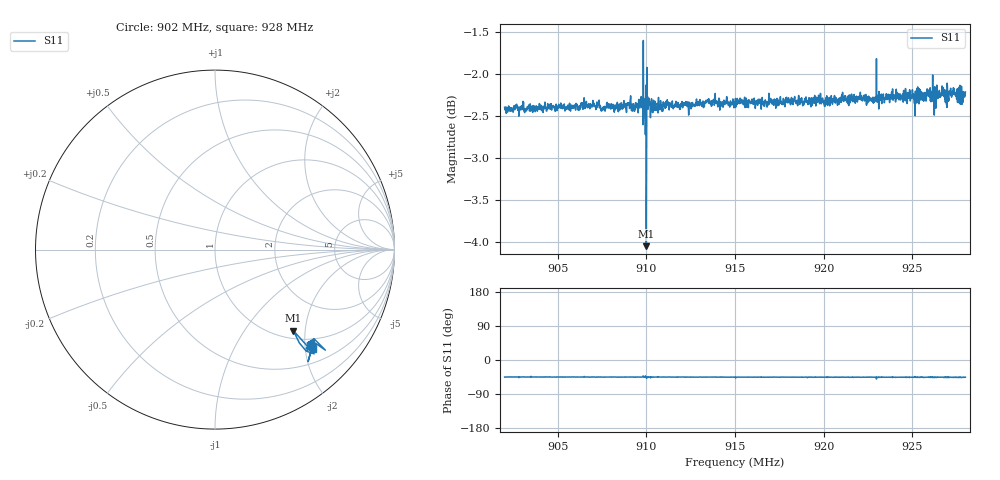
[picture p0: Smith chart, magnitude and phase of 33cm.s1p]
! Calibrated averaged scanner-service zoom
# Hz S RI R 50
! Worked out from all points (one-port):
!   2001 points, 902 MHz to 928 MHz, reference 50 ohm
!   lowest |S11| = -4.0 dB at 910 MHz (marker M1), VSWR 4.37, Z = 58.2 - j86.6 ohm
!   |S11| at or under -10 dB: nowhere
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9.02e8  0.5371 -0.5362
9.0525e8  0.5422 -0.5329
9.06134e8  0.5348 -0.5358
9.06602e8  0.5405 -0.5381
9.07577e8  0.5384 -0.5335
9.085e8  0.5305 -0.5389
9.0967e8  0.5368 -0.5393
9.09709e8  0.5451 -0.5442
9.09839e8  0.5637 -0.5245
9.09878e8  0.5423 -0.5291
9.09956e8  0.5465 -0.5005
9.09995e8  0.4364 -0.4511
9.10086e8  0.5339 -0.5365
9.10112e8  0.5327 -0.5431
9.10151e8  0.5417 -0.542
9.10203e8  0.5441 -0.5369
9.10632e8  0.5402 -0.5382
9.1175e8  0.5376 -0.5363
9.13817e8  0.5416 -0.5382
9.15e8  0.5338 -0.539
9.1825e8  0.5425 -0.5416
9.215e8  0.5353 -0.5449
9.2475e8  0.5426 -0.5507
9.25166e8  0.5287 -0.5323
9.25673e8  0.5392 -0.5549
9.26583e8  0.5423 -0.5466
9.27727e8  0.5397 -0.5501
9.28e8  0.5446 -0.5515
